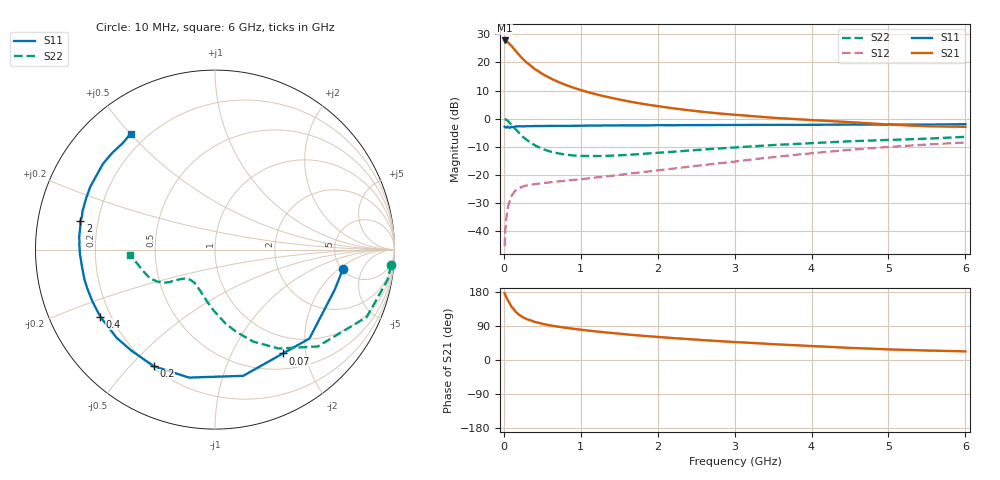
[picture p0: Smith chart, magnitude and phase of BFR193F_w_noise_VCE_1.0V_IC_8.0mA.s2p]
! Infineon Technologies  Discrete & RF Semiconductors
! BFR193F
! VCE =  1.0 V,  IC =  8.0 mA
! Common Emitter S-Parameters:  Jan 2017
# GHz  S  MA  R  50
!  f  S11  S21  S12  S22
! GHz  MAG  ANG  MAG  ANG  MAG  ANG  MAG  ANG
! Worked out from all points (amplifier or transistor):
!   77 points, 10 MHz to 6 GHz, reference 50 ohm
!   highest |S21| = 27.8 dB at 10 MHz (marker M1)
!   |S21| within 3 dB of that: start of sweep to 131.6 MHz
!   unconditionally stable (mu >= 1): 1.568 GHz to 3.206 GHz
!   at 130 MHz: K = 0.16, MSG = 25.6 dB, |S12| = -26.3 dB
!   at 2.2 GHz: K = 1.08, MAG = 9.0 dB, |S12| = -17.8 dB
!   at 6 GHz: K = 0.88, MSG = 2.8 dB, |S12| = -8.5 dB
!   lowest NFmin = 0.84 dB at 450 MHz
!   S11 on the Smith chart (normalised r, x): 10 MHz: 5.08, -2.30; 70 MHz: 0.72, -1.61; 200 MHz: 0.21, -0.59; 400 MHz: 0.16, -0.26; 2 GHz: 0.13, +0.10; 6 GHz: 0.14, +0.50
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0.01  0.7206 -8.7  24.63 176.0  0.0054 86.2  0.9848 -5.1
0.02  0.7037 -18.4  24.16 171.0  0.0105 83.3  0.9764 -9.9
0.05  0.7227 -43.3  23.14 158.2  0.0256 70.3  0.9252 -23.9
0.07  0.6915 -56.8  21.52 151.8  0.032 62.6  0.8584 -30.9
0.1  0.7207 -77.4  19.71 140.4  0.0422 55.6  0.7868 -43.3
0.15  0.7277 -101.5  16.27 127.9  0.0526 46.7  0.6547 -57.3
0.2  0.7338 -117.7  13.56 119.0  0.0584 40.6  0.5545 -67.5
0.25  0.7306 -129.6  11.44 112.5  0.0626 36.8  0.473 -75.5
0.3  0.7361 -138.0  9.884 107.7  0.0651 34.5  0.4173 -81.8
0.4  0.7404 -149.7  7.682 100.5  0.0683 32.6  0.3382 -91.5
0.5  0.7415 -157.1  6.258 95.5  0.0716 32.9  0.2909 -99.0
0.6  0.7436 -162.8  5.278 91.4  0.0736 33.6  0.2609 -105.1
0.7  0.7462 -167.1  4.555 88.0  0.0763 35.1  0.2429 -110.1
0.9  0.7477 -173.6  3.578 82.4  0.0812 38.5  0.222 -118.6
1.1  0.7535 -178.2  2.948 77.6  0.0867 41.9  0.2171 -124.5
1.5  0.7599 174.9  2.193 69.5  0.0999 48.6  0.2232 -132.7
2  0.7666 168.1  1.673 60.8  0.1202 55.2  0.2474 -138.8
2.1  0.7651 167.1  1.6 59.4  0.1247 56.2  0.2526 -139.4
3.1  0.7736 157.0  1.147 46.4  0.1793 63.0  0.314 -144.7
4.1  0.7798 146.8  0.929 35.9  0.2497 63.2  0.3729 -152.1
5.1  0.7854 135.5  0.776 27.4  0.3204 58.7  0.4228 -164.9
6  0.7988 126.1  0.716 22.8  0.3774 53.4  0.4759 -176.5
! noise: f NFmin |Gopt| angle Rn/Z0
0.45  0.84  0.25  124  0.08
0.9  0.99  0.4  147  0.07
1.9  1.74  0.61  -177  0.05
2.4  2.11  0.64  -167  0.08
